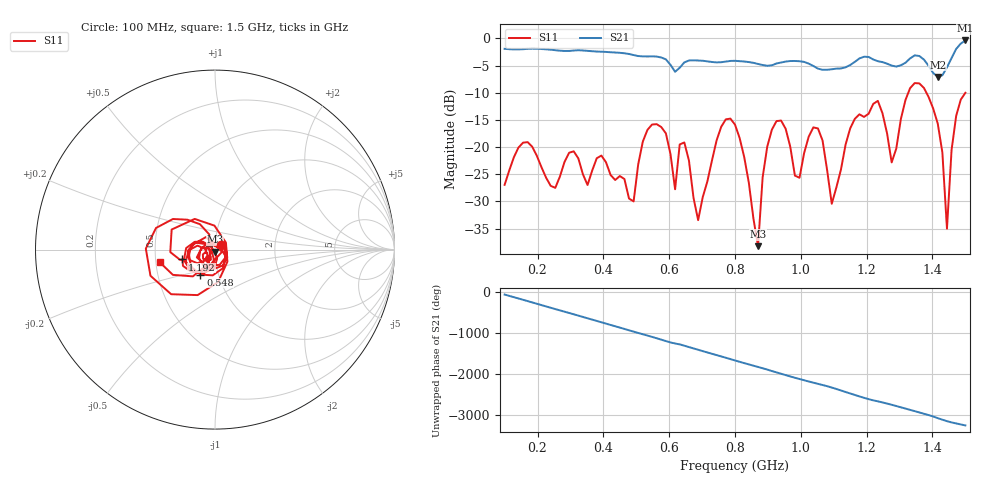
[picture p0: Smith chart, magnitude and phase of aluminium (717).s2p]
! NanoVNA-App
! Date: 2025-09-25 15:00:52
! Start: 100MHz Stop: 1,5GHz Points: 101
! S-Parameter data: F S11 S21 S12 S22
# Hz S RI R 50
!  Frequency  S11_Real  S11_Imag  S21_Real  S21_Imag  S12_Real  S12_Imag  S22_Real  S22_Imag
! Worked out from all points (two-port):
!   101 points, 100 MHz to 1.5 GHz, reference 50 ohm
!   highest |S21| = -0.38 dB at 1.5 GHz (marker M1); lowest = -7.1 dB at 1.416 GHz (marker M2)
!   |S21| within 3 dB of the highest: start of sweep to 565.1 MHz; 1.46 GHz to end of sweep (the widest 2 of 4)
!   lowest |S11| = -38.2 dB at 870 MHz (marker M3), VSWR 1.02, Z = 50 - j1.22 ohm
!   |S11| at or under -10 dB: start of sweep to 1.327 GHz; 1.382 GHz to end of sweep
!   S12 and S22 are empty: the file has one direction only
!   S11 on the Smith chart (normalised r, x): 100 MHz: 1.07, +0.06; 548 MHz: 0.82, -0.23; 1.192 GHz: 0.69, -0.08; 1.5 GHz: 0.53, -0.08
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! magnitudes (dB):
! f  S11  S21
! 100 MHz  -27.0  -1.9
! 156 MHz  -19.2  -2.0
! 338 MHz  -25.0  -2.2
! 492 MHz  -30.0  -3.1
! 548 MHz  -15.8  -3.3
! 576 MHz  -16.3  -3.5
! 618 MHz  -27.8  -6.1
! 646 MHz  -19.2  -4.4
! 688 MHz  -33.5  -4.1
! 800 MHz  -15.9  -4.1
! 870 MHz  -38.2  -4.7
! 912 MHz  -16.8  -5.0
! 996 MHz  -25.7  -4.2
! 1.038 GHz  -16.4  -5.1
! 1.094 GHz  -30.4  -5.7
! 1.192 GHz  -14.5  -3.4
! 1.276 GHz  -22.8  -5.0
! 1.346 GHz  -8.2  -3.1
! 1.416 GHz  -15.7  -7.1
! 1.444 GHz  -35.0  -5.3
! 1.472 GHz  -14.3  -1.9
! 1.5 GHz  -10.0  -0.4
